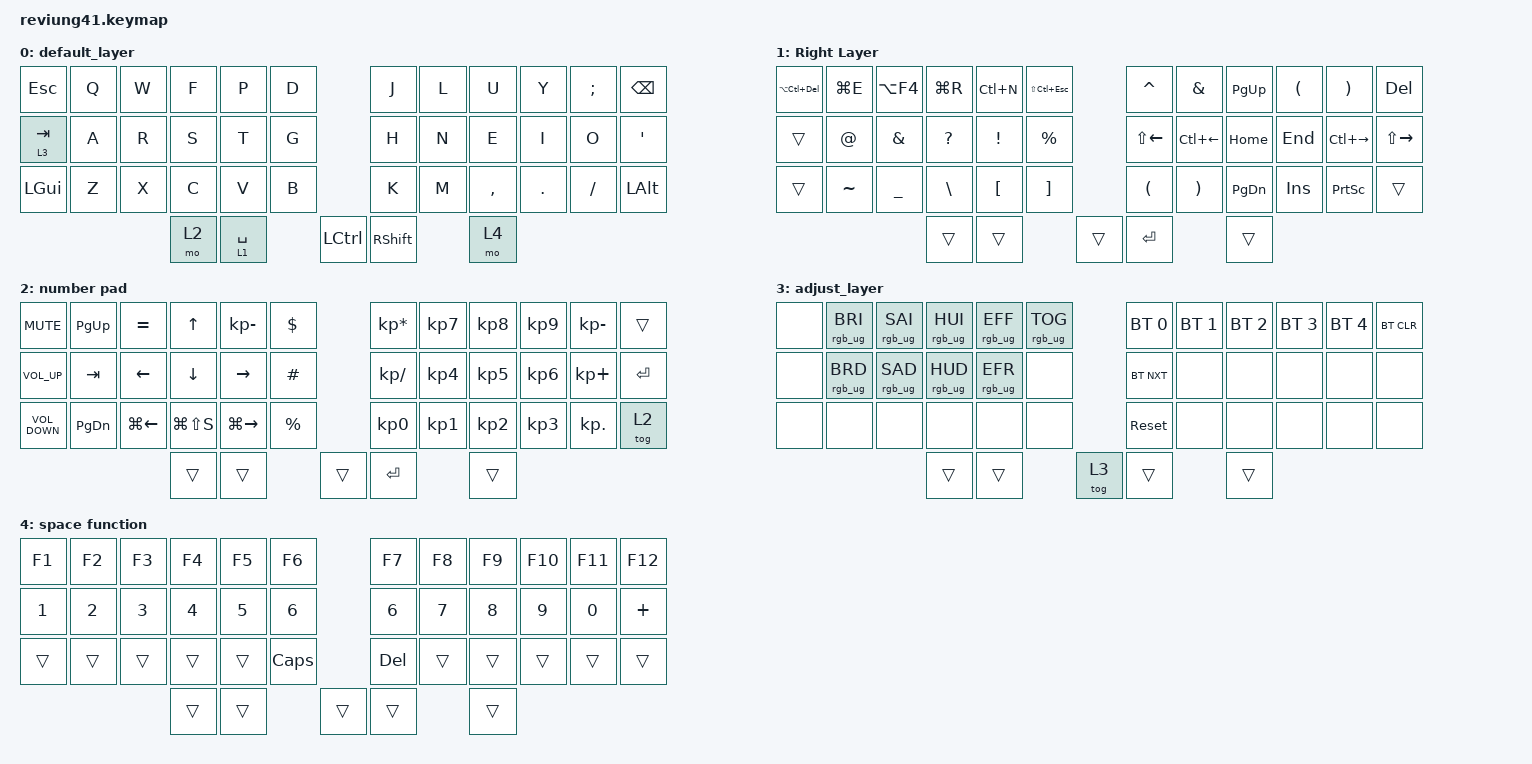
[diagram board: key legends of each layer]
/*
 * Copyright (c) 2020 The ZMK Contributors
 *
 * SPDX-License-Identifier: MIT
 */

#include <behaviors.dtsi>
#include <dt-bindings/zmk/bt.h>
#include <dt-bindings/zmk/keys.h>
#include <dt-bindings/zmk/rgb.h>

/ {
    keymap {
        compatible = "zmk,keymap";

        default_layer {
            // -------------------------------------------------------------------------------------
            // |  TAB |  Q  |  W  |  E  |  R  |  T  |   |  Y  |  U   |  I  |  O  |  P  |   BKSP    |
            // | CTRL |  A  |  S  |  D  |  F  |  G  |   |  H  |  J   |  K  |  L  |  ;  |    '      |
            // | SHFT |  Z  |  X  |  C  |  V  |  B  |   |  N  |  M   |  ,  |  .  |  /  | SHFT(RET) |
            //                         | ALT | LWR | SPC | RSE  | ALT |

            bindings = <
  &kp ESCAPE  &kp Q  &kp W  &kp F        &kp P  &kp D                    &kp J            &kp L      &kp U    &kp Y  &kp SEMICOLON      &kp BSPC
   &lt 3 TAB  &kp A  &kp R  &kp S        &kp T  &kp G                    &kp H            &kp N      &kp E    &kp I          &kp O       &kp SQT
&kp LEFT_GUI  &kp Z  &kp X  &kp C        &kp V  &kp B                    &kp K            &kp M  &kp COMMA  &kp DOT       &kp FSLH  &kp LEFT_ALT
                            &mo 2  &lt 1 SPACE         &kp LEFT_CONTROL         &kp RIGHT_SHIFT      &mo 4
            >;
        };

        right_layer {
            // ------------------------------------------------------------------------------------
            // |    |  !  |  @  |  #  |  $  |  %  |   |  ^  |  &  |  *  |  (  |  )  |      DEL    |
            // |    |  _  |  +  |  {  |  }  | "|" |   | LFT | DWN |  UP | RGT |  `  |       ~     |
            // |    | ESC | GUI | ALT | CAPS|  "  |   | HOME| END | PGUP| PGDN| PRSC| SHFT(SPACE) |
            //                       |     |     | RET | ADJ |     |

            bindings = <
&kp LA(LC(DELETE))    &kp LG(E)     &kp LA(F4)      &kp LG(R)         &kp LC(N)  &kp LS(LC(ESCAPE))                     &kp CARET               &kp AMPS    &kp PAGE_UP    &kp LPAR             &kp RPAR              &kp DEL
            &trans  &kp AT_SIGN  &kp AMPERSAND   &kp QUESTION   &kp EXCLAMATION         &kp PERCENT            &kp LS(LEFT_ARROW)     &kp LC(LEFT_ARROW)       &kp HOME     &kp END  &kp LC(RIGHT_ARROW)  &kp LS(RIGHT_ARROW)
            &trans    &kp TILDE      &kp UNDER  &kp BACKSLASH  &kp LEFT_BRACKET   &kp RIGHT_BRACKET          &kp LEFT_PARENTHESIS  &kp RIGHT_PARENTHESIS  &kp PAGE_DOWN  &kp INSERT            &kp PSCRN               &trans
                                                       &trans            &trans                      &trans                                    &kp ENTER         &trans
            >;

            label = "Right Layer";
        };

        left_layer {
            // ----------------------------------------------------------------------------
            // |    |  1  |  2  |  3  |  4  |  5  |   |  6  |  7  |  8  |  9  |  0  | DEL |
            // |    |  -  |  =  |  [  |  ]  |  \  |   | F1  | F2  | F3  | F4  | F5  | F6  |
            // |    | ESC | GUI | ALT | CAPS|  "  |   | F7  | F8  | F9  | F10 | F11 | F12 |
            //                       |     | ADJ | BKSP |    |     |

            bindings = <
       &kp C_MUTE    &kp PAGE_UP           &kp EQUAL   &kp UP_ARROW         &kp KP_MINUS   &kp DOLLAR          &kp KP_MULTIPLY        &kp KP_N7        &kp KP_N8        &kp KP_N9  &kp KP_MINUS     &trans
  &kp C_VOLUME_UP        &kp TAB            &kp LEFT       &kp DOWN            &kp RIGHT     &kp HASH             &kp KP_SLASH        &kp KP_N4        &kp KP_N5  &kp KP_NUMBER_6   &kp KP_PLUS  &kp ENTER
&kp C_VOLUME_DOWN  &kp PAGE_DOWN  &kp LG(LEFT_ARROW)  &kp LG(LS(S))  &kp LG(RIGHT_ARROW)  &kp PERCENT          &kp KP_NUMBER_0  &kp KP_NUMBER_1  &kp KP_NUMBER_2        &kp KP_N3    &kp KP_DOT     &tog 2
                                                             &trans               &trans               &trans                         &kp ENTER           &trans
            >;

            label = "number pad";
        };

        adjust_layer {
            // -----------------------------------------------------------------------------------------
            // | RGB BRI+ | RGB SAT+ | RGB HUE+ | RGB ANI+ |    | RGB TOG |   |  BT1  | BT2 | BT3 | BT4 | BT5 | BT CLR |
            // | RGB BRI- | RGB SAT- | RGB HUE- | RGB ANI- |    |         |   |       |     |     |     |     |        |
            // |          |          |          |          |    |         |   | RESET |     |     |     |     |        |
            //                                              |     |     |     |     |     |

            bindings = <
&none  &rgb_ug RGB_BRI  &rgb_ug RGB_SAI  &rgb_ug RGB_HUI  &rgb_ug RGB_EFF  &rgb_ug RGB_TOG          &bt BT_SEL 0  &bt BT_SEL 1  &bt BT_SEL 2  &bt BT_SEL 3  &bt BT_SEL 4  &bt BT_CLR
&none  &rgb_ug RGB_BRD  &rgb_ug RGB_SAD  &rgb_ug RGB_HUD  &rgb_ug RGB_EFR            &none            &bt BT_NXT         &none         &none         &none         &none       &none
&none            &none            &none            &none            &none            &none            &sys_reset         &none         &none         &none         &none       &none
                                                  &trans           &trans                   &tog 3                      &trans        &trans
            >;
        };

        space_function {
            bindings = <
      &kp F1        &kp F2        &kp F3        &kp F4        &kp F5        &kp F6                &kp F7  &kp F8  &kp F9  &kp F10  &kp F11   &kp F12
&kp NUMBER_1  &kp NUMBER_2  &kp NUMBER_3  &kp NUMBER_4  &kp NUMBER_5  &kp NUMBER_6          &kp NUMBER_6  &kp N7  &kp N8   &kp N9   &kp N0  &kp PLUS
      &trans        &trans        &trans        &trans        &trans      &kp CAPS            &kp DELETE  &trans  &trans   &trans   &trans    &trans
                                                &trans        &trans                &trans                &trans  &trans
            >;

            label = "space function";
        };
    };
};
